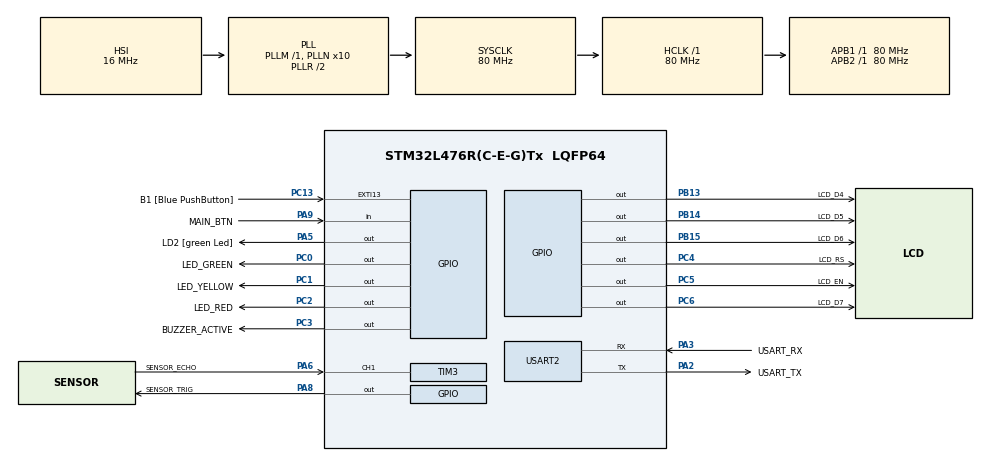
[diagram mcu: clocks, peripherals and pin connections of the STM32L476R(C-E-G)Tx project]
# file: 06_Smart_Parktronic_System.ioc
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Dma.Request0=USART2_RX
Dma.USART2_RX.0.Direction=DMA_PERIPH_TO_MEMORY
Dma.USART2_RX.0.Instance=DMA1_Channel6
Dma.USART2_RX.0.MemDataAlignment=DMA_MDATAALIGN_BYTE
Dma.USART2_RX.0.MemInc=DMA_MINC_ENABLE
Dma.USART2_RX.0.Mode=DMA_NORMAL
Dma.USART2_RX.0.PeriphDataAlignment=DMA_PDATAALIGN_BYTE
Dma.USART2_RX.0.PeriphInc=DMA_PINC_DISABLE
Dma.USART2_RX.0.Priority=DMA_PRIORITY_LOW
Mcu.Family=STM32L4
Mcu.Name=STM32L476R(C-E-G)Tx
Mcu.Package=LQFP64
NVIC.DMA1_Channel6_IRQn=true\:0\:0\:false\:false\:true\:false\:true\:true
NVIC.PriorityGroup=NVIC_PRIORITYGROUP_4
NVIC.TIM3_IRQn=true\:0\:0\:false\:false\:true\:true\:true\:true
NVIC.USART2_IRQn=true\:0\:0\:false\:false\:true\:true\:true\:true
PA13\ (JTMS-SWDIO).GPIO_Label=TMS
PA13\ (JTMS-SWDIO).Mode=Serial_Wire
PA13\ (JTMS-SWDIO).Signal=SYS_JTMS-SWDIO
PA14\ (JTCK-SWCLK).GPIO_Label=TCK
PA14\ (JTCK-SWCLK).Mode=Serial_Wire
PA14\ (JTCK-SWCLK).Signal=SYS_JTCK-SWCLK
PA2.GPIO_Label=USART_TX
PA2.GPIO_Mode=GPIO_MODE_AF_PP
PA2.GPIO_PuPd=GPIO_NOPULL
PA2.GPIO_Speed=GPIO_SPEED_FREQ_VERY_HIGH
PA2.Mode=Asynchronous
PA2.Signal=USART2_TX
PA3.GPIO_Label=USART_RX
PA3.GPIO_Mode=GPIO_MODE_AF_PP
PA3.GPIO_PuPd=GPIO_NOPULL
PA3.GPIO_Speed=GPIO_SPEED_FREQ_VERY_HIGH
PA3.Mode=Asynchronous
PA3.Signal=USART2_RX
PA5.GPIO_Label=LD2 [green Led]
PA5.GPIO_ModeDefaultOutputPP=GPIO_MODE_OUTPUT_PP
PA5.GPIO_PuPd=GPIO_NOPULL
PA5.GPIO_Speed=GPIO_SPEED_FREQ_LOW
PA5.Signal=GPIO_Output
PA6.GPIO_Label=SENSOR_ECHO
PA6.Signal=S_TIM3_CH1
PA8.GPIO_Label=SENSOR_TRIG
PA8.Signal=GPIO_Output
PA9.GPIO_Label=MAIN_BTN
PA9.GPIO_PuPd=GPIO_PULLUP
PA9.Signal=GPIO_Input
PB13.GPIO_Label=LCD_D4
PB13.Signal=GPIO_Output
PB14.GPIO_Label=LCD_D5
PB14.Signal=GPIO_Output
PB15.GPIO_Label=LCD_D6
PB15.Signal=GPIO_Output
PB3\ (JTDO-TRACESWO).GPIO_Label=SWO
PB3\ (JTDO-TRACESWO).Signal=SYS_JTDO-SWO
PC0.GPIO_Label=LED_GREEN
PC0.Signal=GPIO_Output
PC1.GPIO_Label=LED_YELLOW
PC1.Signal=GPIO_Output
PC13.GPIO_Label=B1 [Blue PushButton]
PC13.GPIO_ModeDefaultEXTI=GPIO_MODE_IT_FALLING
PC13.GPIO_PuPd=GPIO_NOPULL
PC13.Signal=GPXTI13
PC14-OSC32_IN\ (PC14).Mode=LSE-External-Oscillator
PC14-OSC32_IN\ (PC14).Signal=RCC_OSC32_IN
PC15-OSC32_OUT\ (PC15).Mode=LSE-External-Oscillator
PC15-OSC32_OUT\ (PC15).Signal=RCC_OSC32_OUT
PC2.GPIO_Label=LED_RED
PC2.Signal=GPIO_Output
PC3.GPIO_Label=BUZZER_ACTIVE
PC3.Signal=GPIO_Output
PC4.GPIO_Label=LCD_RS
PC4.Signal=GPIO_Output
PC5.GPIO_Label=LCD_EN
PC5.Signal=GPIO_Output
PC6.GPIO_Label=LCD_D7
PC6.Signal=GPIO_Output
PH0-OSC_IN\ (PH0).Signal=RCC_OSC_IN
PH1-OSC_OUT\ (PH1).Signal=RCC_OSC_OUT
ProjectManager.HeapSize=0x200
ProjectManager.StackSize=0x400
ProjectManager.TargetToolchain=STM32CubeIDE
RCC.ADCFreq_Value=64000000
RCC.AHBFreq_Value=80000000
RCC.APB1Freq_Value=80000000
RCC.APB1TimFreq_Value=80000000
RCC.APB2Freq_Value=80000000
RCC.APB2TimFreq_Value=80000000
RCC.CortexFreq_Value=80000000
RCC.HCLKFreq_Value=80000000
RCC.HSE_VALUE=8000000
RCC.HSI_VALUE=16000000
RCC.MSI_VALUE=4000000
RCC.PLLN=10
RCC.PLLSourceVirtual=RCC_PLLSOURCE_HSI
RCC.PREFETCH_ENABLE=1
RCC.SYSCLKFreq_VALUE=80000000
RCC.SYSCLKSource=RCC_SYSCLKSOURCE_PLLCLK
RCC.USBFreq_Value=64000000
RCC.VCOOutputFreq_Value=160000000
SH.S_TIM3_CH1.0=TIM3_CH1,Input_Capture1_from_TI1
TIM3.Channel-Input_Capture1_from_TI1=TIM_CHANNEL_1
TIM3.Prescaler=80-1
USART2.VirtualMode-Asynchronous=VM_ASYNC
VP_TIM3_VS_ClockSourceINT.Mode=Internal
board=NUCLEO-L476RG

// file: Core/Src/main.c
/* USER CODE BEGIN Header */
/**
  ******************************************************************************
  * @file           : main.c
  * @brief          : Main program body
  ******************************************************************************
  * @attention
  *
  * Copyright (c) 2026 STMicroelectronics.
  * All rights reserved.
  *
  * This software is licensed under terms that can be found in the LICENSE file
  * in the root directory of this software component.
  * If no LICENSE file comes with this software, it is provided AS-IS.
  *
  ******************************************************************************
  */
/* USER CODE END Header */
#include "main.h"

/* USER CODE BEGIN Includes */
#include <stdio.h>
#include <string.h>
#include <stdlib.h>
/* USER CODE END Includes */

/* USER CODE BEGIN PTD */
// __attribute__((packed)) doesn't allow to add empty bytes protecting frame from becoming bigger
typedef struct __attribute__((packed))
{
	uint8_t start_byte;	// Frame start marker (e.g. 0xAA)
	uint8_t msg_type;	// 0x01 - Distance
	float distance;		// Raw 4 bytes of floating-point data
	uint8_t checksum;	// XOR checksum for data integrity
} TelemetryFrame;
/* USER CODE END PTD */

TIM_HandleTypeDef htim3;

UART_HandleTypeDef huart2;
DMA_HandleTypeDef hdma_usart2_rx;

/* USER CODE BEGIN PV */
TelemetryFrame tx_frame;	// Initialization of the payload struct

uint8_t rx_buffer[50];

// Sensor logic variables
uint32_t raw_time = 0;
float distance_cm = 0.0f;	// Using f at the end compiler knows it's 32-bit not 64-bit double
uint8_t sensor_ready = 0;

// Host (Python) State Variables
uint8_t host_led_state = 0;
uint8_t host_buzzer_state = 0;

uint8_t system_on = 0;	// 0 = OFF, 1 = ON
char lcd_buffer[16];	// Text buffer for formatting LCD numbers

// Advanced Non-Blocking Button Variables
uint8_t button_state = 1;	// Current state (1 = unpressed cause we sue pull up)
uint8_t last_button_state = 1;
uint32_t last_debounce_time = 0;	// Timestamp of the last physical bounce
uint32_t debounce_delay = 50;
/* USER CODE END PV */

void SystemClock_Config(void);
static void MX_GPIO_Init(void);
static void MX_DMA_Init(void);
static void MX_TIM3_Init(void);
static void MX_USART2_UART_Init(void);
/* USER CODE BEGIN PFP */
void LCD_Init(void);
void LCD_Command(uint8_t cmd);
void LCD_Char(char data);
void LCD_String(char *str);
void LCD_SetCursor(uint8_t row, uint8_t col);
void LCD_SendHalfByte(uint8_t val);
/* USER CODE END PFP */

/* USER CODE BEGIN 0 */
void HAL_UARTEx_RxEventCallback(UART_HandleTypeDef *huart, uint16_t Size)
{
	if (huart->Instance == USART2)
	{
		// Null-terminate the received data to treat it as standard C string
		rx_buffer[Size] = '\0';

		// Parse the incoming command: format <L,B> (e.g., <1,2>)
		if (rx_buffer[0] == '<' && strchr((char*)rx_buffer, '>') != NULL)
		{
			host_led_state = rx_buffer[1] - '0';	// This stands for '1' - '0' (example)
			host_buzzer_state = rx_buffer[3] - '0';	// This stands for '2' - '0' (example)
		}

		// Restart the DMA listening for the next incoming command
		HAL_UARTEx_ReceiveToIdle_DMA(&huart2, rx_buffer, 50);	// When 50 bytes received or idle state DMA to RxEventCallback function
		__HAL_DMA_DISABLE_IT(&hdma_usart2_rx, DMA_IT_HT);	// Disable Half-Transfer interrupt
	}
}
/* USER CODE END 0 */

int main(void)
{

  /* MCU Configuration--------------------------------------------------------*/

  /* Reset of all peripherals, Initializes the Flash interface and the Systick. */
  HAL_Init();

  /* Configure the system clock */
  SystemClock_Config();

  /* Initialize all configured peripherals */
  MX_GPIO_Init();
  MX_DMA_Init();
  MX_TIM3_Init();
  MX_USART2_UART_Init();
  /* USER CODE BEGIN 2 */
  // Start the hardware Timer 3 for Input Capture (Echo)
  HAL_TIM_IC_Start_IT(&htim3, TIM_CHANNEL_1);

  // Start listening to Python commands via DMA + IDLE line detection
  HAL_UARTEx_ReceiveToIdle_DMA(&huart2, rx_buffer, 50);
  __HAL_DMA_DISABLE_IT(&hdma_usart2_rx, DMA_IT_HT);

  LCD_Init();
  LCD_SetCursor(0, 0);
  LCD_String("System OFF");
  /* USER CODE END 2 */

  /* Infinite loop */
  /* USER CODE BEGIN WHILE */
  while (1)
  {
	  // 0. Hardware button logic
	  uint8_t current_reading = HAL_GPIO_ReadPin(MAIN_BTN_GPIO_Port, MAIN_BTN_Pin);

	  // Non-blocking buzzer beeping logic, led blinking logic and button logic
	  uint32_t current_time = HAL_GetTick();

	  if (current_reading != last_button_state)
	  {
		  last_debounce_time = current_time;	// Reset the bouncing timer
	  }

	  // If the state has been stable longer than the debounce delay
	  if ((current_time - last_debounce_time) > debounce_delay)
	  {
		  // If the button state has actually changed to a new stable state
		  if (current_reading != button_state)
		  {
			  button_state = current_reading;

			  // Only trigger the action on the FALLING EDGE (when button is pressed down)
			  // Since we use Pull-Up, pressed down means GPIO_PIN_RESET (0)
			  if (button_state == 0)
			  {
				  system_on = !system_on;	// System state toggled

				  if (system_on == 0)
				  {
					  // Shutdown sequence
					  HAL_GPIO_WritePin(LED_GREEN_GPIO_Port, LED_GREEN_Pin, GPIO_PIN_RESET);
					  HAL_GPIO_WritePin(LED_YELLOW_GPIO_Port, LED_YELLOW_Pin, GPIO_PIN_RESET);
					  HAL_GPIO_WritePin(LED_RED_GPIO_Port, LED_RED_Pin, GPIO_PIN_RESET);
					  HAL_GPIO_WritePin(BUZZER_ACTIVE_GPIO_Port, BUZZER_ACTIVE_Pin, GPIO_PIN_RESET);

					  // Display fading
					  LCD_Command(0x01);	// Clear display
					  HAL_Delay(2);
					  LCD_SetCursor(0, 0);
					  LCD_String("System OFF");
				  }
				  else
				  {
					  // Boot sequence (clear display before measurements)
					  LCD_Command(0x01);	// Clear display
					  HAL_Delay(2);
				  }
			  }
		  }
	  }

	  last_button_state = current_reading;

	  if (system_on == 1)
	  {
		  // 1. Sensor Trigger (Non-Blocking execution)
		  // 10 microsecond HIGH pulse to the TRIG pin
		  HAL_GPIO_WritePin(SENSOR_TRIG_GPIO_Port, SENSOR_TRIG_Pin, GPIO_PIN_SET);
		  for (volatile int i = 0; i < 800; i++) {}	// Tiny hardware delay for the trigger pulse
		  HAL_GPIO_WritePin(SENSOR_TRIG_GPIO_Port, SENSOR_TRIG_Pin, GPIO_PIN_RESET);

		  // 2. Calculate distance
		  // Convert raw timer ticks (us) into cm
		  // Sound travels 1 cm in approx 29 us, round trip = 58
		  if (raw_time > 0)
		  {
			  distance_cm = (float)raw_time / 58.0f;
		  }

		  // 3. Transmit binary frame to python
		  tx_frame.start_byte = 0xAA;
		  tx_frame.msg_type = 0x01;
		  tx_frame.distance = distance_cm;

		  // Calculate XOR checksum for data integrity
		  uint8_t *ptr = (uint8_t*)&tx_frame;
		  tx_frame.checksum = ptr[0] ^ ptr[1] ^ ptr[2] ^ ptr[3] ^ ptr[4] ^ ptr[5];

		  // Transmit 7 bytes of the struct via UART
		  HAL_UART_Transmit(&huart2, (uint8_t*)&tx_frame, 7, 100); // Only 7 bytes so the easiest way is to send it using interrupts

		  // 4. LCD update
		  // Split the float into 2 safe int values
		  uint32_t dist_whole = (uint32_t)distance_cm;
		  uint32_t dist_fraction = (uint32_t)(distance_cm * 10.0f) % 10;

		  // Safe snprintf and lightweight %lu formats (long unsigned int)
		  snprintf(lcd_buffer, sizeof(lcd_buffer), "Dist: %3lu.%1lu cm ", dist_whole, dist_fraction);

		  LCD_SetCursor(0, 0);
		  LCD_String(lcd_buffer);

		  LCD_SetCursor(1, 0);
		  if (host_led_state == 1) LCD_String("Status: CLEAR  ");
		  else if (host_led_state == 2) LCD_String("Status: WARNING");
		  else if (host_led_state == 3 || host_led_state == 4) LCD_String("Status: ALARM! ");

		  // 5. Execute host commands (Leds & Buzzer)
		  // Reset all LEDs first
		  HAL_GPIO_WritePin(LED_GREEN_GPIO_Port, LED_GREEN_Pin, GPIO_PIN_RESET);
		  HAL_GPIO_WritePin(LED_YELLOW_GPIO_Port, LED_YELLOW_Pin, GPIO_PIN_RESET);
		  HAL_GPIO_WritePin(LED_RED_GPIO_Port, LED_RED_Pin, GPIO_PIN_RESET);

		  // State requested by python
		  if (host_led_state == 1) HAL_GPIO_WritePin(LED_GREEN_GPIO_Port, LED_GREEN_Pin, GPIO_PIN_SET);
		  if (host_led_state == 2) HAL_GPIO_WritePin(LED_YELLOW_GPIO_Port, LED_YELLOW_Pin, GPIO_PIN_SET);
		  if (host_led_state == 3) HAL_GPIO_WritePin(LED_RED_GPIO_Port, LED_RED_Pin, GPIO_PIN_SET);
		  if (host_led_state == 4)
		  {
			  if ((current_time % 600) < 300)
			  {
				  HAL_GPIO_WritePin(LED_RED_GPIO_Port, LED_RED_Pin, GPIO_PIN_SET);
			  }
			  else
			  {
				  HAL_GPIO_WritePin(LED_RED_GPIO_Port, LED_RED_Pin, GPIO_PIN_RESET);
			  }
		  }

		  if (host_buzzer_state == 0)
		  {
			  // State 0: Silent
			  HAL_GPIO_WritePin(BUZZER_ACTIVE_GPIO_Port, BUZZER_ACTIVE_Pin, GPIO_PIN_RESET);

		  }
		  else if (host_buzzer_state == 1)
		  {
			  // State 1: Slow beep (Toggle every 400 ms)
			  if ((current_time % 800) < 400)
			  {
				  HAL_GPIO_WritePin(BUZZER_ACTIVE_GPIO_Port, BUZZER_ACTIVE_Pin, GPIO_PIN_SET);
			  }
			  else
			  {
				  HAL_GPIO_WritePin(BUZZER_ACTIVE_GPIO_Port, BUZZER_ACTIVE_Pin, GPIO_PIN_RESET);
			  }
		  }
		  else if (host_buzzer_state == 2)
		  {
			  // State 2: Fast beep (Toggle every 150 ms)
			  if ((current_time % 300) < 150)
			  {
				  HAL_GPIO_WritePin(BUZZER_ACTIVE_GPIO_Port, BUZZER_ACTIVE_Pin, GPIO_PIN_SET);
			  }
			  else
			  {
				  HAL_GPIO_WritePin(BUZZER_ACTIVE_GPIO_Port, BUZZER_ACTIVE_Pin, GPIO_PIN_RESET);
			  }
		  }
		  else if (host_buzzer_state == 3)
		  {
			  // State 3: Continuous emergency alarm
			  HAL_GPIO_WritePin(BUZZER_ACTIVE_GPIO_Port, BUZZER_ACTIVE_Pin, GPIO_PIN_SET);
		  }
	  }

	  HAL_Delay(50);
    /* USER CODE END WHILE */

  }
}

void SystemClock_Config(void)
{
  RCC_OscInitTypeDef RCC_OscInitStruct = {0};
  RCC_ClkInitTypeDef RCC_ClkInitStruct = {0};

  /** Configure the main internal regulator output voltage
  */
  if (HAL_PWREx_ControlVoltageScaling(PWR_REGULATOR_VOLTAGE_SCALE1) != HAL_OK)
  {
    Error_Handler();
  }

  /** Initializes the RCC Oscillators according to the specified parameters
  * in the RCC_OscInitTypeDef structure.
  */
  RCC_OscInitStruct.OscillatorType = RCC_OSCILLATORTYPE_HSI;
  RCC_OscInitStruct.HSIState = RCC_HSI_ON;
  RCC_OscInitStruct.HSICalibrationValue = RCC_HSICALIBRATION_DEFAULT;
  RCC_OscInitStruct.PLL.PLLState = RCC_PLL_ON;
  RCC_OscInitStruct.PLL.PLLSource = RCC_PLLSOURCE_HSI;
  RCC_OscInitStruct.PLL.PLLM = 1;
  RCC_OscInitStruct.PLL.PLLN = 10;
  RCC_OscInitStruct.PLL.PLLP = RCC_PLLP_DIV7;
  RCC_OscInitStruct.PLL.PLLQ = RCC_PLLQ_DIV2;
  RCC_OscInitStruct.PLL.PLLR = RCC_PLLR_DIV2;
  if (HAL_RCC_OscConfig(&RCC_OscInitStruct) != HAL_OK)
  {
    Error_Handler();
  }

  /** Initializes the CPU, AHB and APB buses clocks
  */
  RCC_ClkInitStruct.ClockType = RCC_CLOCKTYPE_HCLK|RCC_CLOCKTYPE_SYSCLK
                              |RCC_CLOCKTYPE_PCLK1|RCC_CLOCKTYPE_PCLK2;
  RCC_ClkInitStruct.SYSCLKSource = RCC_SYSCLKSOURCE_PLLCLK;
  RCC_ClkInitStruct.AHBCLKDivider = RCC_SYSCLK_DIV1;
  RCC_ClkInitStruct.APB1CLKDivider = RCC_HCLK_DIV1;
  RCC_ClkInitStruct.APB2CLKDivider = RCC_HCLK_DIV1;

  if (HAL_RCC_ClockConfig(&RCC_ClkInitStruct, FLASH_LATENCY_4) != HAL_OK)
  {
    Error_Handler();
  }
}

static void MX_TIM3_Init(void)
{

  TIM_ClockConfigTypeDef sClockSourceConfig = {0};
  TIM_MasterConfigTypeDef sMasterConfig = {0};
  TIM_IC_InitTypeDef sConfigIC = {0};

  htim3.Instance = TIM3;
  htim3.Init.Prescaler = 80-1;
  htim3.Init.CounterMode = TIM_COUNTERMODE_UP;
  htim3.Init.Period = 65535;
  htim3.Init.ClockDivision = TIM_CLOCKDIVISION_DIV1;
  htim3.Init.AutoReloadPreload = TIM_AUTORELOAD_PRELOAD_DISABLE;
  if (HAL_TIM_Base_Init(&htim3) != HAL_OK)
  {
    Error_Handler();
  }
  sClockSourceConfig.ClockSource = TIM_CLOCKSOURCE_INTERNAL;
  if (HAL_TIM_ConfigClockSource(&htim3, &sClockSourceConfig) != HAL_OK)
  {
    Error_Handler();
  }
  if (HAL_TIM_IC_Init(&htim3) != HAL_OK)
  {
    Error_Handler();
  }
  sMasterConfig.MasterOutputTrigger = TIM_TRGO_RESET;
  sMasterConfig.MasterSlaveMode = TIM_MASTERSLAVEMODE_DISABLE;
  if (HAL_TIMEx_MasterConfigSynchronization(&htim3, &sMasterConfig) != HAL_OK)
  {
    Error_Handler();
  }
  sConfigIC.ICPolarity = TIM_INPUTCHANNELPOLARITY_RISING;
  sConfigIC.ICSelection = TIM_ICSELECTION_DIRECTTI;
  sConfigIC.ICPrescaler = TIM_ICPSC_DIV1;
  sConfigIC.ICFilter = 0;
  if (HAL_TIM_IC_ConfigChannel(&htim3, &sConfigIC, TIM_CHANNEL_1) != HAL_OK)
  {
    Error_Handler();
  }

}

static void MX_USART2_UART_Init(void)
{

  huart2.Instance = USART2;
  huart2.Init.BaudRate = 115200;
  huart2.Init.WordLength = UART_WORDLENGTH_8B;
  huart2.Init.StopBits = UART_STOPBITS_1;
  huart2.Init.Parity = UART_PARITY_NONE;
  huart2.Init.Mode = UART_MODE_TX_RX;
  huart2.Init.HwFlowCtl = UART_HWCONTROL_NONE;
  huart2.Init.OverSampling = UART_OVERSAMPLING_16;
  huart2.Init.OneBitSampling = UART_ONE_BIT_SAMPLE_DISABLE;
  huart2.AdvancedInit.AdvFeatureInit = UART_ADVFEATURE_NO_INIT;
  if (HAL_UART_Init(&huart2) != HAL_OK)
  {
    Error_Handler();
  }

}

static void MX_DMA_Init(void)
{

  /* DMA controller clock enable */
  __HAL_RCC_DMA1_CLK_ENABLE();

  /* DMA interrupt init */
  /* DMA1_Channel6_IRQn interrupt configuration */
  HAL_NVIC_SetPriority(DMA1_Channel6_IRQn, 0, 0);
  HAL_NVIC_EnableIRQ(DMA1_Channel6_IRQn);

}

static void MX_GPIO_Init(void)
{
  GPIO_InitTypeDef GPIO_InitStruct = {0};

  /* GPIO Ports Clock Enable */
  __HAL_RCC_GPIOC_CLK_ENABLE();
  __HAL_RCC_GPIOH_CLK_ENABLE();
  __HAL_RCC_GPIOA_CLK_ENABLE();
  __HAL_RCC_GPIOB_CLK_ENABLE();

  /*Configure GPIO pin Output Level */
  HAL_GPIO_WritePin(GPIOC, LED_GREEN_Pin|LED_YELLOW_Pin|LED_RED_Pin|BUZZER_ACTIVE_Pin
                          |LCD_RS_Pin|LCD_EN_Pin|LCD_D7_Pin, GPIO_PIN_RESET);

  /*Configure GPIO pin Output Level */
  HAL_GPIO_WritePin(GPIOA, LD2_Pin|SENSOR_TRIG_Pin, GPIO_PIN_RESET);

  /*Configure GPIO pin Output Level */
  HAL_GPIO_WritePin(GPIOB, LCD_D4_Pin|LCD_D5_Pin|LCD_D6_Pin, GPIO_PIN_RESET);

  /*Configure GPIO pin : B1_Pin */
  GPIO_InitStruct.Pin = B1_Pin;
  GPIO_InitStruct.Mode = GPIO_MODE_IT_FALLING;
  GPIO_InitStruct.Pull = GPIO_NOPULL;
  HAL_GPIO_Init(B1_GPIO_Port, &GPIO_InitStruct);

  /*Configure GPIO pins : LED_GREEN_Pin LED_YELLOW_Pin LED_RED_Pin BUZZER_ACTIVE_Pin
                           LCD_RS_Pin LCD_EN_Pin LCD_D7_Pin */
  GPIO_InitStruct.Pin = LED_GREEN_Pin|LED_YELLOW_Pin|LED_RED_Pin|BUZZER_ACTIVE_Pin
                          |LCD_RS_Pin|LCD_EN_Pin|LCD_D7_Pin;
  GPIO_InitStruct.Mode = GPIO_MODE_OUTPUT_PP;
  GPIO_InitStruct.Pull = GPIO_NOPULL;
  GPIO_InitStruct.Speed = GPIO_SPEED_FREQ_LOW;
  HAL_GPIO_Init(GPIOC, &GPIO_InitStruct);

  /*Configure GPIO pins : LD2_Pin SENSOR_TRIG_Pin */
  GPIO_InitStruct.Pin = LD2_Pin|SENSOR_TRIG_Pin;
  GPIO_InitStruct.Mode = GPIO_MODE_OUTPUT_PP;
  GPIO_InitStruct.Pull = GPIO_NOPULL;
  GPIO_InitStruct.Speed = GPIO_SPEED_FREQ_LOW;
  HAL_GPIO_Init(GPIOA, &GPIO_InitStruct);

  /*Configure GPIO pins : LCD_D4_Pin LCD_D5_Pin LCD_D6_Pin */
  GPIO_InitStruct.Pin = LCD_D4_Pin|LCD_D5_Pin|LCD_D6_Pin;
  GPIO_InitStruct.Mode = GPIO_MODE_OUTPUT_PP;
  GPIO_InitStruct.Pull = GPIO_NOPULL;
  GPIO_InitStruct.Speed = GPIO_SPEED_FREQ_LOW;
  HAL_GPIO_Init(GPIOB, &GPIO_InitStruct);

  /*Configure GPIO pin : MAIN_BTN_Pin */
  GPIO_InitStruct.Pin = MAIN_BTN_Pin;
  GPIO_InitStruct.Mode = GPIO_MODE_INPUT;
  GPIO_InitStruct.Pull = GPIO_PULLUP;
  HAL_GPIO_Init(MAIN_BTN_GPIO_Port, &GPIO_InitStruct);

}

/* USER CODE BEGIN 4 */
// Local variables for capturing timer states
uint32_t ic_val1 = 0;
uint32_t ic_val2 = 0;
uint8_t is_first_captured = 0;

void HAL_TIM_IC_CaptureCallback(TIM_HandleTypeDef *htim)
{
	if (htim->Channel == HAL_TIM_ACTIVE_CHANNEL_1)
	{
		if (is_first_captured == 0)	// Rising edge detected
		{
			ic_val1 = HAL_TIM_ReadCapturedValue(htim, TIM_CHANNEL_1);
			is_first_captured = 1;

			// Reconfigure the hardware to look for the falling edge now
			__HAL_TIM_SET_CAPTUREPOLARITY(htim, TIM_CHANNEL_1, TIM_INPUTCHANNELPOLARITY_FALLING);
		}
		else	// Falling edge detected
		{
			ic_val2 = HAL_TIM_ReadCapturedValue(htim, TIM_CHANNEL_1);

			// Calculate the difference  avoiding 16-bit timer overflow issues
			if (ic_val2 > ic_val1)
			{
				raw_time = ic_val2 - ic_val1;
			}
			else if (ic_val1 > ic_val2)
			{
				raw_time = (0xFFFF - ic_val1) + ic_val2;
			}

			is_first_captured = 0;

			// Reset polarity to wait for the next rising edge
			__HAL_TIM_SET_CAPTUREPOLARITY(htim, TIM_CHANNEL_1, TIM_INPUTCHANNELPOLARITY_RISING);
		}
	}
}

// Core function to send 4-bits of data to the LCD hardware pins
void LCD_SendHalfByte(uint8_t val)
{
    HAL_GPIO_WritePin(LCD_D4_GPIO_Port, LCD_D4_Pin, (val >> 0) & 0x01);
    HAL_GPIO_WritePin(LCD_D5_GPIO_Port, LCD_D5_Pin, (val >> 1) & 0x01);
    HAL_GPIO_WritePin(LCD_D6_GPIO_Port, LCD_D6_Pin, (val >> 2) & 0x01);
    HAL_GPIO_WritePin(LCD_D7_GPIO_Port, LCD_D7_Pin, (val >> 3) & 0x01);

    // Hardware Enable Pulse (Strobe) to latch the data inside LCD memory
    HAL_GPIO_WritePin(LCD_EN_GPIO_Port, LCD_EN_Pin, GPIO_PIN_SET);
    for(volatile int i = 0; i < 200; i++); // Microsecond hardware delay
    HAL_GPIO_WritePin(LCD_EN_GPIO_Port, LCD_EN_Pin, GPIO_PIN_RESET);
    for(volatile int i = 0; i < 200; i++);
}

void LCD_Command(uint8_t cmd)
{
    HAL_GPIO_WritePin(LCD_RS_GPIO_Port, LCD_RS_Pin, GPIO_PIN_RESET); // RS Low = Command mode
    LCD_SendHalfByte(cmd >> 4);   // Send high nibble
    LCD_SendHalfByte(cmd & 0x0F);  // Send low nibble
    HAL_Delay(2); // Command execution delay
}

void LCD_Char(char data)
{
    HAL_GPIO_WritePin(LCD_RS_GPIO_Port, LCD_RS_Pin, GPIO_PIN_SET); // RS High = Data mode
    LCD_SendHalfByte(data >> 4);   // Send high nibble
    LCD_SendHalfByte(data & 0x0F);  // Send low nibble
    for(volatile int i = 0; i < 500; i++); // Character generation delay
}

void LCD_String(char *str)
{
    while(*str)
    {
        LCD_Char(*str++);
    }
}

void LCD_SetCursor(uint8_t row, uint8_t col)
{
    uint8_t mask = (row == 0) ? (0x80 + col) : (0xC0 + col);
    LCD_Command(mask);
}

void LCD_Init(void)
{
    HAL_Delay(50); // Wait for LCD power stabilization
    HAL_GPIO_WritePin(LCD_RS_GPIO_Port, LCD_RS_Pin, GPIO_PIN_RESET);
    HAL_GPIO_WritePin(LCD_EN_GPIO_Port, LCD_EN_Pin, GPIO_PIN_RESET);

    // Hardcoded internal state machine reset for 4-bit mode conversion
    LCD_SendHalfByte(0x03);
    HAL_Delay(5);
    LCD_SendHalfByte(0x03);
    HAL_Delay(1);
    LCD_SendHalfByte(0x03);
    HAL_Delay(1);
    LCD_SendHalfByte(0x02); // Officially switch HD44780 controller to 4-bit mode

    // Display configuration commands
    LCD_Command(0x28); // 4-bit interface, 2 lines, 5x8 font matrix
    LCD_Command(0x0C); // Display ON, Cursor OFF, Blink OFF
    LCD_Command(0x06); // Auto-increment cursor, shift off
    LCD_Command(0x01); // Clear display memory
    HAL_Delay(2);
}
/* USER CODE END 4 */

void Error_Handler(void)
{
  __disable_irq();
  while (1)
  {
  }
}
